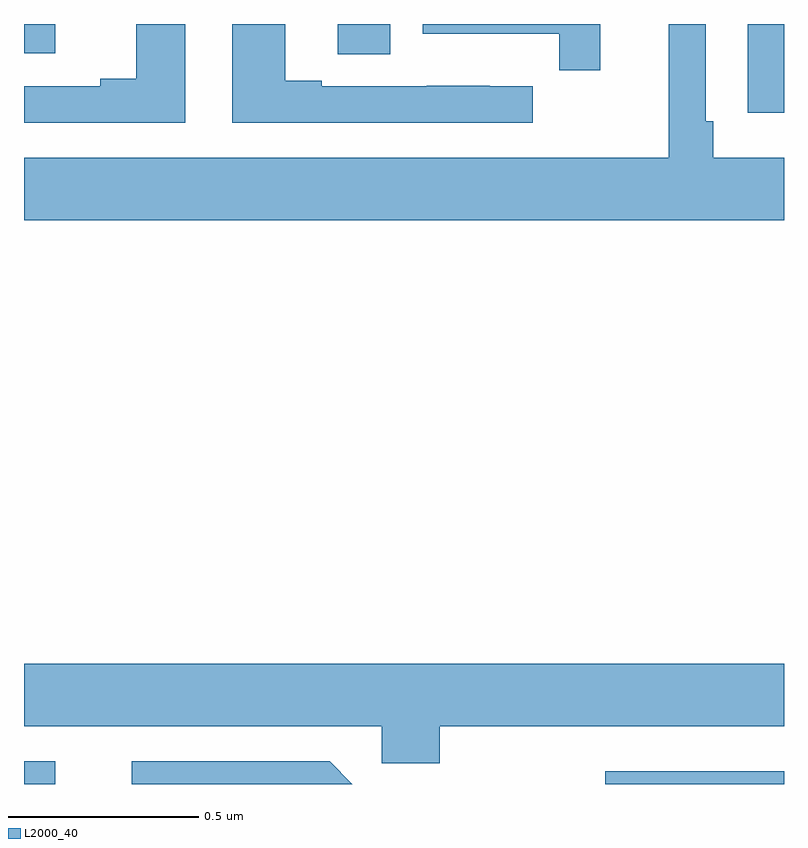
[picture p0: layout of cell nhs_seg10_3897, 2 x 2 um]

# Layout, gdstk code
import gdstk
lib = gdstk.Library(unit=1e-6, precision=1e-09)
def R(c, l, rs):  # rectangles x0, y0, x1, y1
    for r in rs: c.add(gdstk.rectangle(r[:2], r[2:], *l))
def P(c, l, *ps):  # polygons
    for p in ps: c.add(gdstk.Polygon(p, *l))
L2000_40 = (2000, 40)

nhs_seg10_3897 = lib.new_cell('nhs_seg10_3897')
R(nhs_seg10_3897, L2000_40, [(159,1297.5,159.082,1297.56), (160.53,1297.5,161,1297.533), (160.904,1299.267,161,1299.5), (159.825,1299.421,159.964,1299.5), (159,1299.423,159.082,1299.5)])
P(nhs_seg10_3897, L2000_40, [(160.339,1299.336),(160.226,1299.336),(160.226,1299.337),(160.06,1299.337),(160.06,1299.336),(159.784,1299.336),(159.784,1299.351),(159.688,1299.351),(159.688,1299.5),(159.548,1299.5),(159.548,1299.24),(160.339,1299.24)],
  [(161,1299.148),(160.814,1299.148),(160.814,1299.244),(160.794,1299.244),(160.794,1299.5),(160.697,1299.5),(160.697,1299.148),(159,1299.148),(159,1298.984),(161,1298.984)],
  [(160.517,1299.5),(160.049,1299.5),(160.049,1299.474),(160.408,1299.474),(160.408,1299.378),(160.517,1299.378)],
  [(159.424,1299.5),(159.296,1299.5),(159.296,1299.356),(159.2,1299.356),(159.2,1299.336),(159,1299.336),(159,1299.24),(159.424,1299.24)],
  [(160.094,1297.652),(161,1297.652),(161,1297.816),(159,1297.816),(159,1297.652),(159.942,1297.652),(159.942,1297.554),(160.094,1297.554)],
  [(159.804,1297.56),(159.284,1297.56),(159.284,1297.5),(159.864,1297.5)])

lib.write_gds('nhs_seg10_3897.gds')
